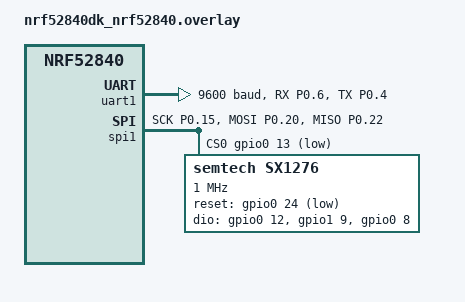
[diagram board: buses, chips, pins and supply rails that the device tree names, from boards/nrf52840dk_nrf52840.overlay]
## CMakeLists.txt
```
# SPDX-License-Identifier: Apache-2.0

cmake_minimum_required(VERSION 3.20.0)
find_package(Zephyr REQUIRED HINTS $ENV{ZEPHYR_BASE})

FILE(GLOB app_sources   src/*) 

#add_executable(app ${app_sources})
#FILE(GLOB_RECURSE app_sources CONFIGURE_DEPENDS "*.c")

FILE(GLOB app_includes  src)

#FILE(GLOB_RECURSE app_includes CONFIGURE_DEPENDS "*.h")

target_include_directories(app PRIVATE ${app_includes})
target_sources(app PRIVATE ${app_sources})


project(blinky)

# Os comandos abaixo servem para setar otimizacao O0 para os arquivos app_sources/app_includes.
add_library(set-app-flags INTERFACE)
target_compile_options(set-app-flags INTERFACE -O0)
target_link_libraries(app PRIVATE set-app-flags)
```

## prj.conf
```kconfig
# ----------------------------------------------------
# Otimizacoes, verificacoes
# ----------------------------------------------------
CONFIG_NO_OPTIMIZATIONS=n
CONFIG_ASSERT=y



# ----------------------------------------------------
# Debug
# ----------------------------------------------------
CONFIG_DEBUG=n
CONFIG_DEBUG_OPTIMIZATIONS=n
CONFIG_DEBUG_THREAD_INFO=n
CONFIG_DEBUG_INFO=n



# ----------------------------------------------------
# Bootloader
# ----------------------------------------------------
CONFIG_BOOTLOADER_MCUBOOT=y
CONFIG_MCUMGR=y
CONFIG_MCUMGR_SMP_BT=y
# Enable the Bluetooth (unauthenticated) and shell mcumgr transports.
CONFIG_MCUMGR_SMP_BT_AUTHEN=n 
CONFIG_MCUMGR_CMD_IMG_MGMT=y
CONFIG_MCUMGR_CMD_OS_MGMT=y
#Habilitar isso pra que seja um bootloader secundario e possivel de ser atualizado.
# essa merda aqui fica cagando com o consumo
CONFIG_SECURE_BOOT=n

CONFIG_SB_SIGNING_KEY_FILE="./priv_deicke_A.pem"
 # Habilitar outras chaves publicas que possam ser aceitas eventualmente
# CONFIG_SB_PUBLIC_KEY_FILES="./pub_deicke_B.pem,./pub_deicke_C.pem"

# ---- Logs ----
CONFIG_MCUBOOT_UTIL_LOG_LEVEL_DBG=y



# ----------------------------------------------------
# Particao de configuracoes - somente quando ha boot
# ----------------------------------------------------
CONFIG_PM_PARTITION_SIZE_SETTINGS_STORAGE=0x2000
CONFIG_SETTINGS=y
CONFIG_SETTINGS_NVS=y
CONFIG_NVS=y



# ----------------------------------------------------
# Bluetooth LE
# ----------------------------------------------------
CONFIG_BT_DEVICE_APPEARANCE=1347
CONFIG_BT=y
CONFIG_BT_PERIPHERAL=y
# CONFIG_BT_BROADCASTER=n
# CONFIG_BT_CENTRAL=y 
# Usar controlador SoftDevice da Nordic
CONFIG_BT_LL_SW_SPLIT=n 

# para usar Le Coded Phy (longa distancia)
CONFIG_BT_CTLR_PHY_CODED=y
CONFIG_BT_EXT_ADV=y
CONFIG_BT_USER_PHY_UPDATE=y

# para poder utilizar endereco estatico
CONFIG_BT_SMP=y
CONFIG_BT_PRIVACY=n

# para usar advertising estendido
CONFIG_BT_EXT_ADV=y
CONFIG_BT_GATT_CLIENT=n

CONFIG_BT_DEVICE_NAME_DYNAMIC=y
CONFIG_BT_DEVICE_NAME_MAX=50
CONFIG_BT_DEVICE_NAME_GATT_WRITABLE=y
CONFIG_BT_DEVICE_NAME="XDS-22"

CONFIG_BT_BUF_ACL_RX_SIZE=256
# Segundo a nordic o maximo MTU usando softdevice deve ser 247
CONFIG_BT_L2CAP_TX_MTU=247
# Habilita fragmentacao de pacotes grandes.
# CONFIG_BT_L2CAP_TX_FRAG_COUNT=5
CONFIG_BT_CTLR_DATA_LENGTH_MAX=250
CONFIG_BT_CTLR_TX_PWR_DYNAMIC_CONTROL=y
CONFIG_BT_CTLR_CONN_RSSI=y
CONFIG_BT_CTLR_TX_PWR_PLUS_8=y
# CONFIG_BT_CTLR_ADVANCED_FEATURES=n
# Battery Service 
CONFIG_BT_BAS=y 
# Nordic UART Service
CONFIG_BT_NUS=y 
# LED/Button Service
CONFIG_BT_LBS=n 
# Device Information Service (versao, fabricante, etc)
CONFIG_BT_DIS=y 

# --- Configuracoes DIS  ---
CONFIG_BT_DIS_MANUF="XPTEC"
CONFIG_BT_DIS_MODEL="XDS-22"
CONFIG_BT_DIS_FW_REV=y
CONFIG_BT_DIS_FW_REV_STR="v00.03.05"
CONFIG_BT_DIS_HW_REV=y
CONFIG_BT_DIS_HW_REV_STR="v0.5"
CONFIG_BT_DIS_PNP=n
CONFIG_BT_DIS_SERIAL_NUMBER=n
CONFIG_BT_DIS_SETTINGS=y
CONFIG_BT_DIS_SW_REV=n

# ---- Logs ----
CONFIG_BT_DEBUG_LOG=n



# ----------------------------------------------------
# LOGS, Console, Printf, Scanf
# ----------------------------------------------------
# -- Console, Log --
CONFIG_LOG=y
CONFIG_LOG_MODE_MINIMAL=y
CONFIG_RTT_CONSOLE=y
CONFIG_LOG_BACKEND_RTT=y
CONFIG_UART_CONSOLE=n

CONFIG_LOG_MODE_IMMEDIATE=y
#CONFIG_LOG_PROCESS_THREAD=y
#CONFIG_LOG_PROCESS_THREAD_CUSTOM_PRIORITY=y
#CONFIG_LOG_PROCESS_THREAD_PRIORITY=5

CONFIG_LOG_DEFAULT_LEVEL=4
# CONFIG_LOG_BUFFER_SIZE=32768

CONFIG_PRINTK=y
CONFIG_LOG_PRINTK=y

# -- Strings --
#CONFIG_LOG_DETECT_MISSED_STRDUP=y
#CONFIG_LOG_PRINTK_MAX_STRING_LENGTH=512
#CONFIG_LOG_STRDUP_BUF_COUNT=10
#CONFIG_LOG_STRDUP_MAX_STRING=512

# -- Printf, Scanf, etc --
CONFIG_NEWLIB_LIBC=y
CONFIG_CBPRINTF_FULL_INTEGRAL=y
CONFIG_CBPRINTF_FP_SUPPORT=y
CONFIG_NEWLIB_LIBC_FLOAT_SCANF=y
CONFIG_NEWLIB_LIBC_FLOAT_PRINTF=y
CONFIG_NEWLIB_LIBC_NANO=n



# ----------------------------------------------------
# LoRa, SPI
# ----------------------------------------------------
CONFIG_SPI=y
CONFIG_LORA=y
CONFIG_LORA_SX12XX=y
CONFIG_LORA_LOG_LEVEL_OFF=y

#CONFIG_LORA_LOG_LEVEL=4
#CONFIG_LORA_LOG_LEVEL_DBG=y
#CONFIG_SPI_LOG_LEVEL_OFF=y



# ----------------------------------------------------
# UART
# ----------------------------------------------------
CONFIG_UART_1_NRF_PARITY_BIT=y
CONFIG_UART_INTERRUPT_DRIVEN=n
CONFIG_UART_1_ASYNC=n
CONFIG_UART_ASYNC_API=n
#CONFIG_UART_1_NRF_TX_BUFFER_SIZE=256
#CONFIG_UART_1_NRF_RX_BUFFER_SIZE=256



# ----------------------------------------------------
# GPIOs
# ----------------------------------------------------
CONFIG_GPIO=y

#CONFIG_GPIO_LOG_LEVEL_DBG=y



# ----------------------------------------------------
# JSON
# ----------------------------------------------------
CONFIG_CJSON_LIB=n



# ----------------------------------------------------
# Gerenciamento de Energia / Power Management
# ----------------------------------------------------
CONFIG_PM=y
CONFIG_PM_DEVICE=y
CONFIG_PM_DEVICE_RUNTIME=y
CONFIG_PM_CPU_OPS=y
# CONFIG_PM_DEVICE_RUNTIME_EXCLUSIVE=y
CONFIG_PM_POLICY_DEFAULT=y
CONFIG_PM_DEVICE_POWER_DOMAIN=y

# CONFIG_CAF=y
# CONFIG_CAF_POWER_MANAGER=y
# CONFIG_CAF_POWER_MANAGER_TIMEOUT=120
# CONFIG_CAF_BLE_STATE=y
# CONFIG_CAF_BLE_STATE_PM=y
# CONFIG_CAF_BLE_STATE_EXCHANGE_MTU=y



# ----------------------------------------------------
# Gerenciamento da Flash
# ----------------------------------------------------
CONFIG_MPU_ALLOW_FLASH_WRITE=y



# ----------------------------------------------------
# Regulador interno
# ----------------------------------------------------
# CONFIG_ADJUST_LDO=y
# CONFIG_NRF_APPROTECT_LOCK=y
# CONFIG_NRF_APPROTECT_USE_UICR=y



# ----------------------------------------------------
# HEAP Mem, Stack, Falhas, Thread Analyzer
# ----------------------------------------------------
CONFIG_HEAP_MEM_POOL_SIZE=32768

CONFIG_REBOOT=y
# CONFIG_RESET_ON_FATAL_ERROR=y
#CONFIG_FATAL_ERROR_LOG_LEVEL_DBG=y
#CONFIG_BT_HCI_VS_FATAL_ERROR=y


CONFIG_EXTRA_EXCEPTION_INFO=y

#CONFIG_THREAD_NAME=y
# CONFIG_THREAD_ANALYZER=y
# CONFIG_THREAD_STACK_INFO=y
# CONFIG_THREAD_MONITOR=y
# CONFIG_THREAD_ANALYZER_ISR_STACK_USAGE=y
# CONFIG_THREAD_ANALYZER_AUTO_INTERVAL=5
# #CONFIG_THREAD_ANALYZER_USE_PRINTK=n
# CONFIG_THREAD_ANALYZER_AUTO=y
# CONFIG_THREAD_ANALYZER_USE_LOG=y
# CONFIG_THREAD_ANALYZER_AUTO_STACK_SIZE=65536

CONFIG_INIT_STACKS=y
CONFIG_STACK_USAGE=y
# Aparentemente stack sentinel e mpu stack guard nao podem ser usados simultaneamente (fonte: github, investigar mais a fundo)
#CONFIG_MPU_STACK_GUARD=y 
#CONFIG_STACK_SENTINEL=y


# --- Tamanhos Stacks ---
CONFIG_IDLE_STACK_SIZE=4096
CONFIG_MAIN_STACK_SIZE=8196
CONFIG_ISR_STACK_SIZE=8196
CONFIG_MPSL_WORK_STACK_SIZE=8196
CONFIG_SYSTEM_WORKQUEUE_STACK_SIZE=8196


CONFIG_BT_RX_STACK_SIZE=4096
CONFIG_BT_HCI_TX_STACK_SIZE=4096
#CONFIG_BT_CTLR_RX_PRIO_STACK_SIZE=1024

CONFIG_PRIVILEGED_STACK_SIZE=8196

#CONFIG_LOG_PROCESS_THREAD_STACK_SIZE=65536
```

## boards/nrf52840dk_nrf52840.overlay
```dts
/*
 * Copyright (c) 2017 Linaro Limited
 *
 * SPDX-License-Identifier: Apache-2.0
 */

//#include <dt-bindings/lora/sx126x.h>

/ {
    aliases {
        lora0 = &lora;
		gpiozero = &gpio0;
		gpioum = &gpio1;
		internaluart = &uart1;
    };
};

&pinctrl {
	uart1_default_alt: uart1_default_alt {
		group1 {
			psels =	<NRF_PSEL(UART_RX, 0, 6)>;
			bias-pull-up;
		};
		group2 {
			psels = <NRF_PSEL(UART_TX, 0, 4)>;
		};
	};
	uart1_sleep_alt: uart1_sleep_alt {
		/* group 1 ('group1' name is arbitrary) */
		group1 {
			psels = <NRF_PSEL(UART_RX, 0, 6)>,
					<NRF_PSEL(UART_TX, 0, 4)>;
			low-power-enable;
		};
	};
	spi1_default_alt: spi1_default_alt {
		group1 {
			psels = <NRF_PSEL(SPIM_SCK, 0, 15)>,
					<NRF_PSEL(SPIM_MOSI, 0, 20)>, 
					<NRF_PSEL(SPIM_MISO, 0, 22)>;
		};
	};
	spi1_sleep_alt: spi1_sleep_alt {
		group1 {
			psels = <NRF_PSEL(SPIM_SCK, 0, 15)>,
					<NRF_PSEL(SPIM_MOSI, 0, 20)>, 
					<NRF_PSEL(SPIM_MISO, 0, 22)>;
			low-power-enable;
		};
	};
};

&uart0 {
	status = "disabled";
};

&spi3 {
	status = "disabled";
};

&spi2 {
	status = "disabled";
};

&spi0 {
	status = "disabled";
};

&qspi {
	status = "disabled";
};

&pwm0 {
	status = "disabled";
};


&uart1 {
	compatible = "nordic,nrf-uarte";
	status = "okay";
	current-speed = <9600>;
	parity = "none";
	pinctrl-0 = <&uart1_default_alt>;
	pinctrl-1 = <&uart1_sleep_alt>;
	pinctrl-names = "default", "sleep";
};

&spi1 {
	compatible = "nordic,nrf-spi";
	/* DEWAVEBOARD */ 
	cs-gpios = <&gpio0 13 GPIO_ACTIVE_LOW>;
	// mosi-pin = <20>;
	// miso-pin = <22>;
	// sck-pin = <15>;
	pinctrl-0 = <&spi1_default_alt>;
	pinctrl-1 = <&spi1_sleep_alt>;
	pinctrl-names = "default", "sleep";
	status = "okay";
	
	lora: sx1276@0 {
		compatible = "semtech,sx1276";
		reg = <0>;
		label = "sx1276";
		reset-gpios = <&gpio0 24 GPIO_ACTIVE_LOW>;
		dio-gpios = <&gpio0 12 (GPIO_PULL_DOWN | GPIO_ACTIVE_HIGH)>,
					<&gpio1 9 (GPIO_PULL_DOWN | GPIO_ACTIVE_HIGH)>,
					<&gpio0 8 (GPIO_PULL_DOWN | GPIO_ACTIVE_HIGH)>;
		spi-max-frequency = <1000000>;
		power-amplifier-output = "pa-boost";
		/*power-amplifier-output = "rfo";*/
	};
};
```

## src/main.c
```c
/*
 * Copyright (c) 2016 Intel Corporation
 *
 * SPDX-License-Identifier: Apache-2.0
 */

#include <zephyr/device.h>
#include <nrfx_power.h>
#include <zephyr/pm/pm.h>
#include <zephyr/pm/device.h>
#include <zephyr/kernel.h>
#include <zephyr/drivers/gpio.h>
#include <zephyr/drivers/pinctrl.h>
#include <zephyr/logging/log.h>
#include "power_management.h"


#define LOG_LEVEL CONFIG_LOG_DEFAULT_LEVEL
LOG_MODULE_REGISTER(blinky_low_power);
/* 1000 msec = 1 sec */
#define SLEEP_TIME_MS   2000


const struct device *gpio0;
const struct device *gpio1;
const struct device *xdev_spi;
const struct device *xdev_uart1;
const struct device *lora_dev = DEVICE_DT_GET(DT_NODELABEL(lora));

// void XTF_TURN_ON(){
// 	pm_device_action_run(xdev_spi, PM_DEVICE_ACTION_RESUME);
// 	pm_device_action_run(xdev_uart, PM_DEVICE_ACTION_RESUME);
// 	pm_device_action_run(xdev_uart1, PM_DEVICE_ACTION_RESUME);
// 	LOG_INF("UART START");
	
// } 	

// void XTF_TURN_OFF(){
// 	LOG_INF("UART STOP");
// 	pm_device_action_run(xdev_spi, PM_DEVICE_ACTION_SUSPEND);
// 	pm_device_action_run(xdev_uart, PM_DEVICE_ACTION_SUSPEND);
// 	pm_device_action_run(xdev_uart1, PM_DEVICE_ACTION_SUSPEND);
// }
static inline int wrapper_lora_recv(const struct device *dev, uint8_t *data, uint8_t size, k_timeout_t timeout, int16_t *rssi, int8_t *snr)
{
#if 0 && SIMULATE_LORA
	return 0;
#else
	return lora_recv(dev, data, size, timeout, rssi, snr);
#endif
}

static inline int wrapper_lora_send(const struct device *dev, uint8_t *data, uint32_t data_len)
{
#if SIMULATE_LORA
	return 0;
#else
	return lora_send(dev, data, data_len);
#endif
}
int wrapper_config_lora_tx(const struct device *lora_device, struct lora_modem_config *config)
{
	int ret;
	if (lora_device == NULL || config == NULL)
	{
		LOG_ERR("lora_dev = %08X; config = %08X", (uint32_t)lora_device, (uint32_t)config);
		return -1;
	}
#if SIMULATE_LORA
	ret = 0;
#else
	ret = lora_config(lora_device, config);
#endif
	return ret;
}

struct lora_modem_config config;
int config_lora_tx(bool set_tx)
{
	if (lora_dev == NULL)
	{
		LOG_ERR("Erro fatal no LoRa!");
		return -1;
	}
	config.frequency = 915000000;
	config.bandwidth = BW_125_KHZ;
	config.datarate = SF_7;
	config.preamble_len = 8;
	config.coding_rate = CR_4_5;
	config.tx_power = 20;
	config.tx = set_tx;
	int ret = wrapper_config_lora_tx(lora_dev, &config);
	k_sleep(K_MSEC(1));
	return ret;
}


void main(void)
{
	int ret, rssi, snr;
	uint8_t buff[10];
	const struct device *gpio0 = DEVICE_DT_GET(DT_NODELABEL(gpio0));
	const struct device *gpio1 = DEVICE_DT_GET(DT_NODELABEL(gpio1));
	xdev_uart1 = DEVICE_DT_GET(DT_NODELABEL(uart1));
	xdev_spi = DEVICE_DT_GET(DT_NODELABEL(spi1));
	__ASSERT(xdev_uart1, "Falhou ao pegar ponteiro para a UART1");
	__ASSERT(xdev_spi, "Falhou ao pegar ponteiro para a SPI");

	
	while (!device_is_ready(xdev_uart1) || !device_is_ready(xdev_spi) ||!device_is_ready(gpio0) || !device_is_ready(gpio1)){
		LOG_ERR("Dispositivos nao estao prontos");
		k_msleep(100);
	}
	if (NRF_UICR->REGOUT0 != UICR_REGOUT0_VOUT_3V0)
	{
		NRF_NVMC->CONFIG = NVMC_CONFIG_WEN_Wen << NVMC_CONFIG_WEN_Pos;
		while (NRF_NVMC->READY == NVMC_READY_READY_Busy)
		{
		}
		NRF_UICR->REGOUT0 = UICR_REGOUT0_VOUT_3V0;
		NRF_NVMC->CONFIG = NVMC_CONFIG_WEN_Ren << NVMC_CONFIG_WEN_Pos;
		while (NRF_NVMC->READY == NVMC_READY_READY_Busy)
		{
		}
	}
	nrf_power_dcdcen_set(NRF_POWER, false);
	nrf_power_dcdcen_vddh_set(NRF_POWER, false);
	k_msleep(5000);
	save_all_pins();
	//pm_device_init_suspended(gpio0);
	//pm_device_runtime_enable(gpio0);
	while (1) {		
		//pm_device_runtime_put_async(gpio0, PM_DEVICE_ACTION_RESUME);
		
		XTF_TURN_OFF(xdev_uart1, xdev_spi, gpio0, gpio1);
		// wrapper_lora_send(xdev_spi, "Teste", 5);
		// config_lora_tx(false);
		// wrapper_lora_recv(xdev_spi, buff, 5, K_MSEC(5000), &rssi, &snr);
		//pm_device_action_run(gpio0, PM_DEVICE_ACTION_RESUME);
		//pm_device_runtime_get(gpio0);
		k_msleep(100);
		//pinctrl_apply_state(gpio0->config, PINCTRL_STATE_DEFAULT);
		//pinctrl_apply_state(gpio1->config, PINCTRL_STATE_DEFAULT);
		k_msleep(100);
		// gpio_pin_set_dt(&led0, 1);
		// gpio_pin_set_dt(&led1, 1);
		// gpio_pin_set_dt(&led2, 1);
		// gpio_pin_set_dt(&led3, 1);
		k_msleep(SLEEP_TIME_MS);
		k_msleep(100);
		// pinctrl_apply_state(gpio0->config, PINCTRL_STATE_SLEEP);
		// pinctrl_apply_state(gpio1->config, PINCTRL_STATE_SLEEP);
		k_msleep(100);
		// gpio_pin_set_dt(&led0, 0);
		// gpio_pin_set_dt(&led1, 0);
		// gpio_pin_set_dt(&led2, 0);
		// gpio_pin_set_dt(&led3, 0);
		//pm_device_runtime_put_async(gpio0, PM_DEVICE_ACTION_SUSPEND);
		// pm_device_action_run(gpio0, PM_DEVICE_ACTION_SUSPEND);
		// pm_device_action_run(gpio1, PM_DEVICE_ACTION_SUSPEND);
		//pm_device_runtime_put(gpio0);
		
		LOG_INF("UART TRASH1");	
		LOG_INF("UART TRASH2");	
		LOG_INF("UART TRASH3");	
		XTF_TURN_ON(xdev_uart1, xdev_spi, gpio0, gpio1);
		config_lora_tx(true);
		k_msleep(SLEEP_TIME_MS);
		LOG_INF("UART TRASH4");	
	}
}
```

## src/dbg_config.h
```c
#ifndef __DBG_CONFIG_H__
#define __DBG_CONFIG_H__


#if 1

    #include <zephyr/logging/log.h>
    #include <zephyr/sys/printk.h>
    #include <zephyr/kernel.h>
#if 1
    #define dbgI(...) LOG_INF(__VA_ARGS__); \
                        k_msleep(1)
    #define dbgE(...) LOG_ERR(__VA_ARGS__); \
                        k_msleep(1)
#else
    #define dbgI(...) printk(__VA_ARGS__); \
                        printk("\n"); \
                        k_msleep(2)
    #define dbgE(...) printk(__VA_ARGS__); \
                        printk("\n"); \
                        k_msleep(2)
#endif

    #define get_time k_uptime_get

    static inline uint32_t get_time_u32(){
        return (uint32_t) k_uptime_get();
    }

#else

    #include <time.h>
    #include "freertos/FreeRTOS.h"
    #include "esp_log.h"

    #define dbgI(...) ESP_LOGI(TAG, __VA_ARGS__)
    #define dbgE(...) ESP_LOGE(TAG, __VA_ARGS__)

    #define log_strdup(...) (__VA_ARGS__)

    #define get_time() clock()/CLOCKS_PER_SEC

#endif

#endif
```

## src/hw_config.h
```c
#ifndef __HW_CONFIG__
#define __HW_CONFIG__

#define HARDWARE_ARCH               1


#define GPIO_HIGH                   1
#define GPIO_LOW                    0

#define GPIO_XTF_ENABLE_PIN         26
#define GPIO_XTF_ENABLE_PORT        0

#define GPIO_LORA_RST_PIN           24 // Na placa v1.0 ainda está 18!!!
#define GPIO_LORA_RST_PORT          0

#define GPIO_LORA_DIO0_PIN          12
#define GPIO_LORA_DIO0_PORT         0

#define GPIO_LORA_DIO1_PIN          9
#define GPIO_LORA_DIO1_PORT         1

#define GPIO_LORA_DIO2_PIN          8
#define GPIO_LORA_DIO2_PORT         0

#define GPIO_LORA_CS_PIN            13
#define GPIO_LORA_CS_PORT           0

#define GPIO_LORA_MOSI_PIN          20
#define GPIO_LORA_MOSI_PORT         0

#define GPIO_LORA_MISO_PIN          22
#define GPIO_LORA_MISO_PORT         0

#define GPIO_LORA_SCKL_PIN          15
#define GPIO_LORA_SCKL_PORT         0

#if HARDWARE_ARCH == 1



#endif

#endif
```

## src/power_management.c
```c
#include <zephyr/device.h>
#include <nrfx_power.h>
#include <zephyr/pm/pm.h>
#include <zephyr/pm/device.h>
#include <zephyr/kernel.h>
#include <zephyr/drivers/gpio.h>
#include <zephyr/drivers/pinctrl.h>
#include <zephyr/logging/log.h>
#include "power_management.h"
#include "hw_config.h"

extern const struct device *gpio0;
extern const struct device *gpio1;
extern const struct device *xdev_spi;
extern const struct device *xdev_uart1;

#define LOG_LEVEL CONFIG_LOG_DEFAULT_LEVEL
#include "dbg_config.h"
LOG_MODULE_REGISTER(power_management);

ppm_t __global_ppm[2][32] = {0};

static void confirm_pin_config(const struct device *dev, int port, int pin){
	if(__global_ppm[port][pin].drivecfg 	!= 	GPIO_PIN_CNF_DRIVE_S0S1){LOG_ERR("FALHA 5");}
	if(__global_ppm[port][pin].dircfg 		!= 	nrf_gpio_pin_dir_get(NRF_GPIO_PIN_MAP(port, pin))){LOG_ERR("FALHA 0");}
	if(__global_ppm[port][pin].inputcfg 	!= 	nrf_gpio_pin_input_get(NRF_GPIO_PIN_MAP(port, pin))){LOG_ERR("FALHA 1");}
	if(__global_ppm[port][pin].outcfg 		!= 	nrf_gpio_pin_out_read(NRF_GPIO_PIN_MAP(port, pin))){LOG_ERR("FALHA 2");}
	if(__global_ppm[port][pin].pullcfg 		!=	nrf_gpio_pin_pull_get(NRF_GPIO_PIN_MAP(port, pin))){LOG_ERR("FALHA 3");}
	if(__global_ppm[port][pin].sensecfg 	!= 	nrf_gpio_pin_sense_get(NRF_GPIO_PIN_MAP(port, pin))){LOG_ERR("FALHA 4");}
}

void save_pin_config(const struct device *dev, int port, int pin, char *name){
	__global_ppm[port][pin].saved		= 1;
	__global_ppm[port][pin].drivecfg 	= GPIO_PIN_CNF_DRIVE_S0S1;
	__global_ppm[port][pin].dircfg 		= nrf_gpio_pin_dir_get(NRF_GPIO_PIN_MAP(port, pin));
	__global_ppm[port][pin].inputcfg 	= nrf_gpio_pin_input_get(NRF_GPIO_PIN_MAP(port, pin));
	__global_ppm[port][pin].outcfg 		= nrf_gpio_pin_out_read(NRF_GPIO_PIN_MAP(port, pin));
	__global_ppm[port][pin].pullcfg 	= nrf_gpio_pin_pull_get(NRF_GPIO_PIN_MAP(port, pin));
	__global_ppm[port][pin].sensecfg 	= nrf_gpio_pin_sense_get(NRF_GPIO_PIN_MAP(port, pin));
	strncpy(__global_ppm[port][pin].name, name, strlen(name) > 29 ? 29 : strlen(name));
	LOG_INF("%d_%02d drv=%08X dir=%08X in=%08X out=%08X pull=%08X sens=%08X name=%s", 
				port, pin,
				__global_ppm[port][pin].drivecfg,
				__global_ppm[port][pin].dircfg,
				__global_ppm[port][pin].inputcfg,
				__global_ppm[port][pin].outcfg,
				__global_ppm[port][pin].pullcfg,
				__global_ppm[port][pin].sensecfg,
				__global_ppm[port][pin].name);
	
	k_msleep(10);
}

static void load_pin_config(const struct device *dev, int port, int pin){
	if(__global_ppm[port][pin].saved){
		nrf_gpio_cfg(NRF_GPIO_PIN_MAP(port, pin),
					__global_ppm[port][pin].dircfg,
					__global_ppm[port][pin].inputcfg,
					__global_ppm[port][pin].pullcfg,
					__global_ppm[port][pin].drivecfg,
					__global_ppm[port][pin].sensecfg);
		LOG_INF("%d_%02d drv=%08X dir=%08X in=%08X out=%08X pull=%08X sens=%08X name=%s", 
				port, pin,
				__global_ppm[port][pin].drivecfg,
				__global_ppm[port][pin].dircfg,
				__global_ppm[port][pin].inputcfg,
				__global_ppm[port][pin].outcfg,
				__global_ppm[port][pin].pullcfg,
				__global_ppm[port][pin].sensecfg,
				__global_ppm[port][pin].name);					
	}
	k_msleep(10);
}

void disable_gpio_pin(const struct device *dev, int port, int pin){
	nrf_gpio_cfg(NRF_GPIO_PIN_MAP(port, pin),
				NRF_GPIO_PIN_DIR_INPUT,
				NRF_GPIO_PIN_INPUT_DISCONNECT,
				NRF_GPIO_PIN_NOPULL,
				NRF_GPIO_PIN_S0S1,
				NRF_GPIO_PIN_NOSENSE);
}

void enable_gpio_pin(const struct device *dev, int port, int pin){
	load_pin_config(dev, port, pin);
	confirm_pin_config(dev, port, pin);
}


void XTF_TURN_ON(const struct device *dev_uart, const struct device *dev_spi, const struct device *dev_gpio0, const struct device *dev_gpio1){

	if(dev_uart != NULL){
		pm_device_action_run(dev_uart, PM_DEVICE_ACTION_RESUME);
	}
	if(dev_spi != NULL){
		pm_device_action_run(dev_spi, PM_DEVICE_ACTION_RESUME);
	}

	enable_all_pins();
	gpio_pin_set_raw(dev_gpio0, GPIO_XTF_ENABLE_PIN, GPIO_HIGH);

	k_msleep(10);

} 	

void XTF_TURN_OFF(const struct device *dev_uart, const struct device *dev_spi, const struct device *dev_gpio0, const struct device *dev_gpio1){

	if(dev_uart != NULL)
		pm_device_action_run(dev_uart, PM_DEVICE_ACTION_SUSPEND);
	if(dev_spi != NULL)
		pm_device_action_run(dev_spi, PM_DEVICE_ACTION_SUSPEND);

	if(dev_gpio0 != NULL){
		for(int i = 0; i < 32; i++){
			disable_gpio_pin(dev_gpio0, 0, i);
		}
	}
	if(dev_gpio1 != NULL){
		for(int i = 0; i < 16; i++){
			disable_gpio_pin(dev_gpio1, 1, i);
		}
	}
	k_msleep(10);
}


const struct device *lora_get_gpio_device_from_port(int port)
{
	if (port == 0)
		return gpio0;
	else
		return gpio1;
}

void save_all_pins()
{
	save_pin_config(lora_get_gpio_device_from_port(GPIO_LORA_RST_PORT), 	GPIO_LORA_RST_PORT, 	GPIO_LORA_RST_PIN,		"GPIO_LORA_RST_PIN");
	save_pin_config(lora_get_gpio_device_from_port(GPIO_LORA_DIO0_PORT), 	GPIO_LORA_DIO0_PORT, 	GPIO_LORA_DIO0_PIN,		"GPIO_LORA_DIO0_PIN");
	save_pin_config(lora_get_gpio_device_from_port(GPIO_LORA_DIO1_PORT), 	GPIO_LORA_DIO1_PORT, 	GPIO_LORA_DIO1_PIN,		"GPIO_LORA_DIO1_PIN");
	save_pin_config(lora_get_gpio_device_from_port(GPIO_LORA_DIO2_PORT), 	GPIO_LORA_DIO2_PORT, 	GPIO_LORA_DIO2_PIN,		"GPIO_LORA_DIO2_PIN");
	save_pin_config(lora_get_gpio_device_from_port(GPIO_LORA_CS_PORT), 		GPIO_LORA_CS_PORT, 		GPIO_LORA_CS_PIN,		"GPIO_LORA_CS_PIN");
	save_pin_config(lora_get_gpio_device_from_port(GPIO_LORA_MOSI_PORT), 	GPIO_LORA_MOSI_PORT, 	GPIO_LORA_MOSI_PIN,		"GPIO_LORA_MOSI_PIN");
	save_pin_config(lora_get_gpio_device_from_port(GPIO_LORA_MISO_PORT), 	GPIO_LORA_MISO_PORT, 	GPIO_LORA_MISO_PIN,		"GPIO_LORA_MISO_PIN");
	save_pin_config(lora_get_gpio_device_from_port(GPIO_LORA_SCKL_PORT), 	GPIO_LORA_SCKL_PORT, 	GPIO_LORA_SCKL_PIN,		"GPIO_LORA_SCKL_PIN");
	save_pin_config(lora_get_gpio_device_from_port(GPIO_XTF_ENABLE_PORT), 	GPIO_XTF_ENABLE_PORT, 	GPIO_XTF_ENABLE_PIN,	"GPIO_XTF_ENABLE_PIN");

}

void enable_all_pins()
{

	enable_gpio_pin(lora_get_gpio_device_from_port(GPIO_LORA_RST_PORT),		GPIO_LORA_RST_PORT, 	GPIO_LORA_RST_PIN);
	enable_gpio_pin(lora_get_gpio_device_from_port(GPIO_LORA_DIO0_PORT),	GPIO_LORA_DIO0_PORT, 	GPIO_LORA_DIO0_PIN);
	enable_gpio_pin(lora_get_gpio_device_from_port(GPIO_LORA_DIO1_PORT),	GPIO_LORA_DIO1_PORT, 	GPIO_LORA_DIO1_PIN);
	enable_gpio_pin(lora_get_gpio_device_from_port(GPIO_LORA_DIO2_PORT),	GPIO_LORA_DIO2_PORT, 	GPIO_LORA_DIO2_PIN);
	enable_gpio_pin(lora_get_gpio_device_from_port(GPIO_LORA_CS_PORT), 		GPIO_LORA_CS_PORT, 		GPIO_LORA_CS_PIN);
	enable_gpio_pin(lora_get_gpio_device_from_port(GPIO_LORA_MOSI_PORT), 	GPIO_LORA_MOSI_PORT, 	GPIO_LORA_MOSI_PIN);
	enable_gpio_pin(lora_get_gpio_device_from_port(GPIO_LORA_MISO_PORT), 	GPIO_LORA_MISO_PORT, 	GPIO_LORA_MISO_PIN);
	enable_gpio_pin(lora_get_gpio_device_from_port(GPIO_LORA_SCKL_PORT), 	GPIO_LORA_SCKL_PORT, 	GPIO_LORA_SCKL_PIN);
	enable_gpio_pin(lora_get_gpio_device_from_port(GPIO_XTF_ENABLE_PORT), 	GPIO_XTF_ENABLE_PORT, 	GPIO_XTF_ENABLE_PIN);

	// nrf_spi_pins_set(NRF_SPI1, GPIO_LORA_SCKL_PIN, GPIO_LORA_MOSI_PIN, GPIO_LORA_MISO_PIN);
}
```

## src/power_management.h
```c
#ifndef __POWER_MANAGEMENT_H__
#define __POWER_MANAGEMENT_H__

#include <stdio.h>
#include <string.h>
#include <stdlib.h>
#include <zephyr/device.h>
#include <zephyr/drivers/lora.h>
#include <errno.h>
#include <zephyr/sys/util.h>
#include <zephyr/kernel.h>
#include <zephyr/drivers/gpio.h>

#include <helpers/nrfx_reset_reason.h>
#include <nrfx_power.h>
#include <zephyr/pm/pm.h>
#include <zephyr/pm/device.h>
#include <zephyr/drivers/pinctrl.h>
#include <zephyr/drivers/lora.h>

#include <hal/nrf_gpio.h>



typedef struct pin_power_management{
    uint8_t                 saved;
    char                    name[30];
    nrf_gpio_pin_sense_t    sensecfg;
    nrf_gpio_pin_dir_t      dircfg;
    nrf_gpio_pin_input_t    inputcfg;
    nrf_gpio_pin_pull_t     pullcfg;
    nrf_gpio_pin_drive_t    drivecfg;
    uint32_t                outcfg;
} ppm_t;

void enable_gpio_pin(const struct device *dev, int port, int pin);
void disable_gpio_pin(const struct device *dev, int port, int pin);
void save_pin_config(const struct device *dev, int port, int pin, char *name);
void XTF_TURN_OFF(const struct device *dev_uart, const struct device *dev_spi, const struct device *dev_gpio0, const struct device *dev_gpio1);
void XTF_TURN_ON(const struct device *dev_uart, const struct device *dev_spi, const struct device *dev_gpio0, const struct device *dev_gpio1);

void save_all_pins();
void enable_all_pins();
void disable_all_pins();



#endif
```
